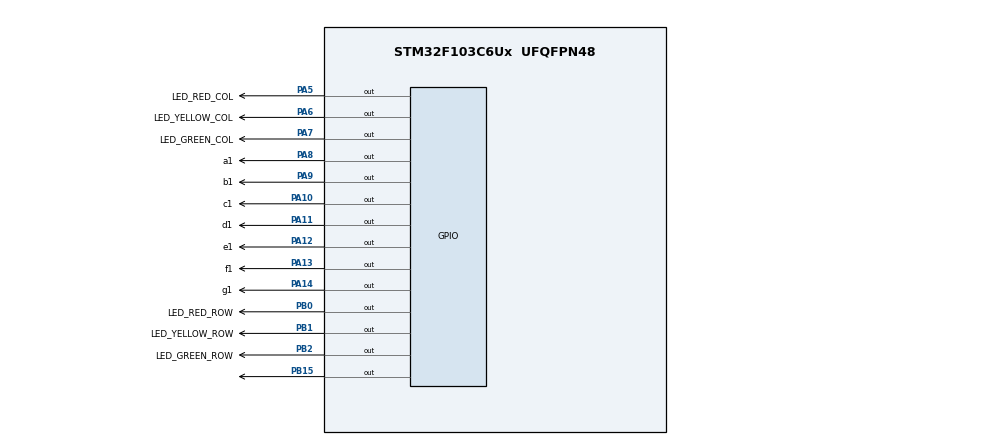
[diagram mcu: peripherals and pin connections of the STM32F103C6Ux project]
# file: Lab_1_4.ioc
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Mcu.Family=STM32F1
Mcu.Name=STM32F103C6Ux
Mcu.Package=UFQFPN48
NVIC.PriorityGroup=NVIC_PRIORITYGROUP_4
PA10.GPIO_Label=c1
PA10.Signal=GPIO_Output
PA11.GPIO_Label=d1
PA11.Signal=GPIO_Output
PA12.GPIO_Label=e1
PA12.Signal=GPIO_Output
PA13.GPIO_Label=f1
PA13.Signal=GPIO_Output
PA14.GPIO_Label=g1
PA14.Signal=GPIO_Output
PA5.GPIO_Label=LED_RED_COL
PA5.Signal=GPIO_Output
PA6.GPIO_Label=LED_YELLOW_COL
PA6.Signal=GPIO_Output
PA7.GPIO_Label=LED_GREEN_COL
PA7.Signal=GPIO_Output
PA8.GPIO_Label=a1
PA8.Signal=GPIO_Output
PA9.GPIO_Label=b1
PA9.Signal=GPIO_Output
PB0.GPIO_Label=LED_RED_ROW
PB0.Signal=GPIO_Output
PB1.GPIO_Label=LED_YELLOW_ROW
PB1.Signal=GPIO_Output
PB15.Signal=GPIO_Output
PB2.GPIO_Label=LED_GREEN_ROW
PB2.Signal=GPIO_Output
ProjectManager.HeapSize=0x200
ProjectManager.StackSize=0x400
ProjectManager.TargetToolchain=STM32CubeIDE
RCC.APB1Freq_Value=8000000
RCC.APB2Freq_Value=8000000
VP_SYS_VS_ND.Mode=No_Debug
board=custom

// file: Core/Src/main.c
/* USER CODE BEGIN Header */
/**
  ******************************************************************************
  * @file           : main.c
  * @brief          : Main program body
  ******************************************************************************
  * @attention
  *
  * <h2><center>&copy; Copyright (c) 2026 STMicroelectronics.
  * All rights reserved.</center></h2>
  *
  * This software component is licensed by ST under BSD 3-Clause license,
  * the "License"; You may not use this file except in compliance with the
  * License. You may obtain a copy of the License at:
  *                        opensource.org/licenses/BSD-3-Clause
  *
  ******************************************************************************
  */
/* USER CODE END Header */
#include "main.h"

void SystemClock_Config(void);
static void MX_GPIO_Init(void);

/* USER CODE BEGIN 0 */
uint8_t segTable[10][7] = {
    // a  b  c  d  e  f  g
    {  0, 0, 0, 0, 0, 0, 1 }, // số 0
    {  1, 0, 0, 1, 1, 1, 1 }, // số 1
    {  0, 0, 1, 0, 0, 1, 0 }, // số 2
    {  0, 0, 0, 0, 1, 1, 0 }, // số 3
    {  1, 0, 0, 1, 1, 0, 0 }, // số 4
    {  0, 1, 0, 0, 1, 0, 0 }, // số 5
    {  0, 1, 0, 0, 0, 0, 0 }, // số 6
    {  0, 0, 0, 1, 1, 1, 1 }, // số 7
    {  0, 0, 0, 0, 0, 0, 0 }, // số 8
    {  0, 0, 0, 0, 1, 0, 0 }  // số 9
};

void display7SEG(int num) {
    HAL_GPIO_WritePin(GPIOA, a1_Pin, segTable[num][0]);
    HAL_GPIO_WritePin(GPIOA, b1_Pin, segTable[num][1]);
    HAL_GPIO_WritePin(GPIOA, c1_Pin, segTable[num][2]);
    HAL_GPIO_WritePin(GPIOA, d1_Pin, segTable[num][3]);
    HAL_GPIO_WritePin(GPIOA, e1_Pin, segTable[num][4]);
    HAL_GPIO_WritePin(GPIOA, f1_Pin, segTable[num][5]);
    HAL_GPIO_WritePin(GPIOA, g1_Pin, segTable[num][6]);
}
int counter = 0;
/* USER CODE END 0 */

int main(void)
{

  /* MCU Configuration--------------------------------------------------------*/

  /* Reset of all peripherals, Initializes the Flash interface and the Systick. */
  HAL_Init();

  /* Configure the system clock */
  SystemClock_Config();

  /* Initialize all configured peripherals */
  MX_GPIO_Init();

  /* Infinite loop */
  while (1)
  {
	  if (counter >= 10) counter = 0;
	       display7SEG(counter++);
	       HAL_Delay(1000);
  }
}

void SystemClock_Config(void)
{
  RCC_OscInitTypeDef RCC_OscInitStruct = {0};
  RCC_ClkInitTypeDef RCC_ClkInitStruct = {0};

  /** Initializes the RCC Oscillators according to the specified parameters
  * in the RCC_OscInitTypeDef structure.
  */
  RCC_OscInitStruct.OscillatorType = RCC_OSCILLATORTYPE_HSI;
  RCC_OscInitStruct.HSIState = RCC_HSI_ON;
  RCC_OscInitStruct.HSICalibrationValue = RCC_HSICALIBRATION_DEFAULT;
  RCC_OscInitStruct.PLL.PLLState = RCC_PLL_NONE;
  if (HAL_RCC_OscConfig(&RCC_OscInitStruct) != HAL_OK)
  {
    Error_Handler();
  }
  /** Initializes the CPU, AHB and APB buses clocks
  */
  RCC_ClkInitStruct.ClockType = RCC_CLOCKTYPE_HCLK|RCC_CLOCKTYPE_SYSCLK
                              |RCC_CLOCKTYPE_PCLK1|RCC_CLOCKTYPE_PCLK2;
  RCC_ClkInitStruct.SYSCLKSource = RCC_SYSCLKSOURCE_HSI;
  RCC_ClkInitStruct.AHBCLKDivider = RCC_SYSCLK_DIV1;
  RCC_ClkInitStruct.APB1CLKDivider = RCC_HCLK_DIV1;
  RCC_ClkInitStruct.APB2CLKDivider = RCC_HCLK_DIV1;

  if (HAL_RCC_ClockConfig(&RCC_ClkInitStruct, FLASH_LATENCY_0) != HAL_OK)
  {
    Error_Handler();
  }
}

static void MX_GPIO_Init(void)
{
  GPIO_InitTypeDef GPIO_InitStruct = {0};

  /* GPIO Ports Clock Enable */
  __HAL_RCC_GPIOA_CLK_ENABLE();
  __HAL_RCC_GPIOB_CLK_ENABLE();

  /*Configure GPIO pin Output Level */
  HAL_GPIO_WritePin(GPIOA, LED_RED_COL_Pin|LED_YELLOW_COL_Pin|LED_GREEN_COL_Pin|a1_Pin
                          |b1_Pin|c1_Pin|d1_Pin|e1_Pin
                          |f1_Pin|g1_Pin, GPIO_PIN_RESET);

  /*Configure GPIO pin Output Level */
  HAL_GPIO_WritePin(GPIOB, LED_RED_ROW_Pin|LED_YELLOW_ROW_Pin|LED_GREEN_ROW_Pin|GPIO_PIN_15, GPIO_PIN_RESET);

  /*Configure GPIO pins : LED_RED_COL_Pin LED_YELLOW_COL_Pin LED_GREEN_COL_Pin a1_Pin
                           b1_Pin c1_Pin d1_Pin e1_Pin
                           f1_Pin g1_Pin */
  GPIO_InitStruct.Pin = LED_RED_COL_Pin|LED_YELLOW_COL_Pin|LED_GREEN_COL_Pin|a1_Pin
                          |b1_Pin|c1_Pin|d1_Pin|e1_Pin
                          |f1_Pin|g1_Pin;
  GPIO_InitStruct.Mode = GPIO_MODE_OUTPUT_PP;
  GPIO_InitStruct.Pull = GPIO_NOPULL;
  GPIO_InitStruct.Speed = GPIO_SPEED_FREQ_LOW;
  HAL_GPIO_Init(GPIOA, &GPIO_InitStruct);

  /*Configure GPIO pins : LED_RED_ROW_Pin LED_YELLOW_ROW_Pin LED_GREEN_ROW_Pin PB15 */
  GPIO_InitStruct.Pin = LED_RED_ROW_Pin|LED_YELLOW_ROW_Pin|LED_GREEN_ROW_Pin|GPIO_PIN_15;
  GPIO_InitStruct.Mode = GPIO_MODE_OUTPUT_PP;
  GPIO_InitStruct.Pull = GPIO_NOPULL;
  GPIO_InitStruct.Speed = GPIO_SPEED_FREQ_LOW;
  HAL_GPIO_Init(GPIOB, &GPIO_InitStruct);

}

void Error_Handler(void)
{
  __disable_irq();
  while (1)
  {
  }
}

/************************ (C) COPYRIGHT STMicroelectronics *****END OF FILE****/
